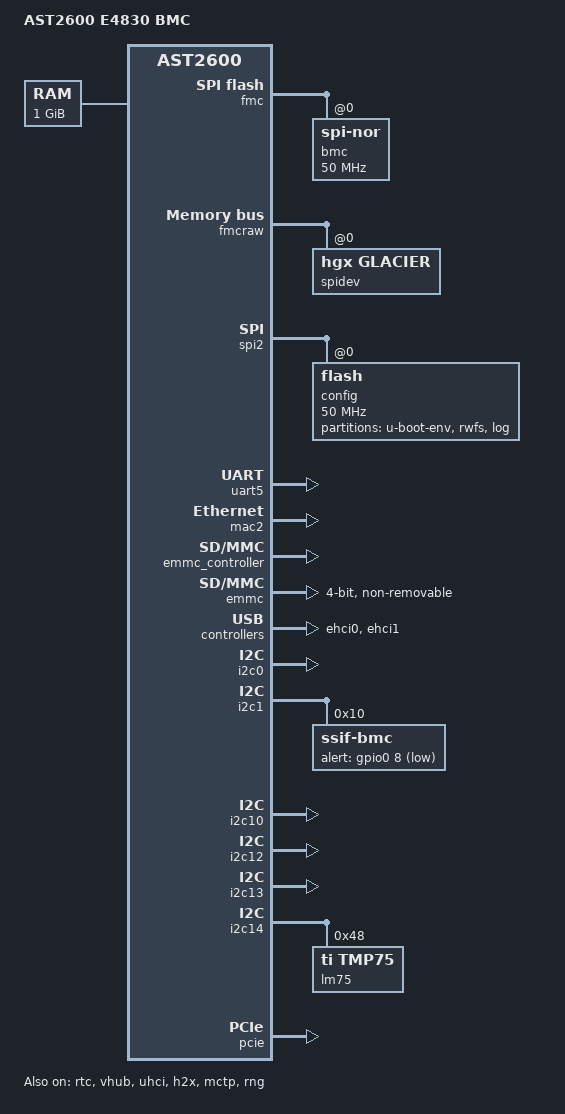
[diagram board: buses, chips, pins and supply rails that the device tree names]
// SPDX-License-Identifier: GPL-2.0+
/dts-v1/;

#include "nvidia-gh-bmc-core.dtsi"
#include <dt-bindings/leds/common.h>

/ {
	model = "AST2600 E4830 BMC";
	compatible = "aspeed,ast2600";

	aliases {
		serial4 = &uart5;
	};

	chosen {
		stdout-path = &uart5;
		bootargs = "console=tty0 console=ttyS4,115200 earlyprintk";
	};

	memory@80000000 {
		reg = <0x80000000 0x40000000>;
	};

        power-gpios{
                n2-gpios = <&gpio0 ASPEED_GPIO(N, 2) (GPIO_ACTIVE_HIGH|GPIO_PULL_UP)>;
                n3-gpios = <&gpio0 ASPEED_GPIO(N, 3) (GPIO_ACTIVE_HIGH|GPIO_PULL_UP)>;
        };

};

// Enabled Primary flash on FMC for bring up activity
&fmc {
    status = "okay";
    flash@0 {
        status = "okay";
        compatible = "jedec,spi-nor";
        label = "bmc";
        spi-max-frequency = <50000000>;
#include "aspeed-bmc-nvidia-e4830-flash-layout-64.dtsi"
    };
};

&fmcraw {
    status = "okay";
    spidev@0 {
        compatible = "hgx,glacier";
        status = "okay";
    };
};

&spi2 {
    status = "okay";
    pinctrl-names = "default";
    pinctrl-0 = <&pinctrl_spi2_default>;

    flash@0 {
        status = "okay";
        label = "config";
        spi-max-frequency = <50000000>;
        partitions {
            compatible = "fixed-partitions";
            #address-cells = <1>;
            #size-cells = <1>;

            u-boot-env@0 {
                reg = <0x0 0x40000>;
                label = "u-boot-env";
            };

            rwfs@40000 {
                reg = <0x40000 0x1000000>;
                label = "rwfs";
            };
            log@3800000 {
                reg = <0x3800000 0xc800000>; // 200 MB
                label = "log";
            };
        };
    };
};

&rtc {
        status = "okay";
};


&uart5 {
	// BMC Debug Console
	status = "okay";
};

// MAC2 of SoC connected to external PHY
&mac2 {
	status = "okay";

	pinctrl-names = "default";
	pinctrl-0 = <&pinctrl_rgmii3_default>;
};

// Enable emmc
&emmc_controller {
        status = "okay";
};

&emmc {
        non-removable;
        bus-width = <4>;
        max-frequency = <52000000>;
};

/*
 * Enable port A as device (via the virtual hub) and port B as
 * host by default on the eval board. This can be easily changed
 * by replacing the override below with &ehci0 { ... } to enable
 * host on both ports.
 */
&vhub {
   status = "okay";
};
// USB 2.0 to HMC & Host BMC connectivity
&ehci0 {
   status = "okay";
};

&ehci1 {
   status = "okay";
};

// USB 1.0
&uhci {
   status = "okay";
};

&i2c0 {             
    status = "okay";
};                  

// SSIF IPMI interface
&i2c1 {
    status = "okay";
        ssif-bmc@10 {
            compatible = "ssif-bmc";
            alert-gpio = <&gpio0 8 GPIO_ACTIVE_LOW>;
            pulse_width_us = <5>;
            timeout_ms = <4995>;
            reg = <0x10>;
        };
};

// Ethernet SW 
&i2c10 {
    status = "okay";
};


&i2c12 {
    status = "okay";
};

&i2c13 {
    status = "okay";
};

&i2c14 {
    status = "okay";
    lm75@48 {
        compatible = "ti,tmp75";
        reg = <0x48>;
    };
};
// PCIe RC
&pcie {
        status = "okay";

        interrupts = <GIC_SPI 168 IRQ_TYPE_LEVEL_HIGH>;

        pcie_intc0: legacy-interrupt-controller {
                interrupts = <GIC_SPI 168 IRQ_TYPE_EDGE_RISING>;
        };
};
// Bridge between AHB bus and PCIe RC.
&h2x {
        status = "okay";
};

&mctp {
    status = "okay";
};

&rng {
	status = "okay";
};
